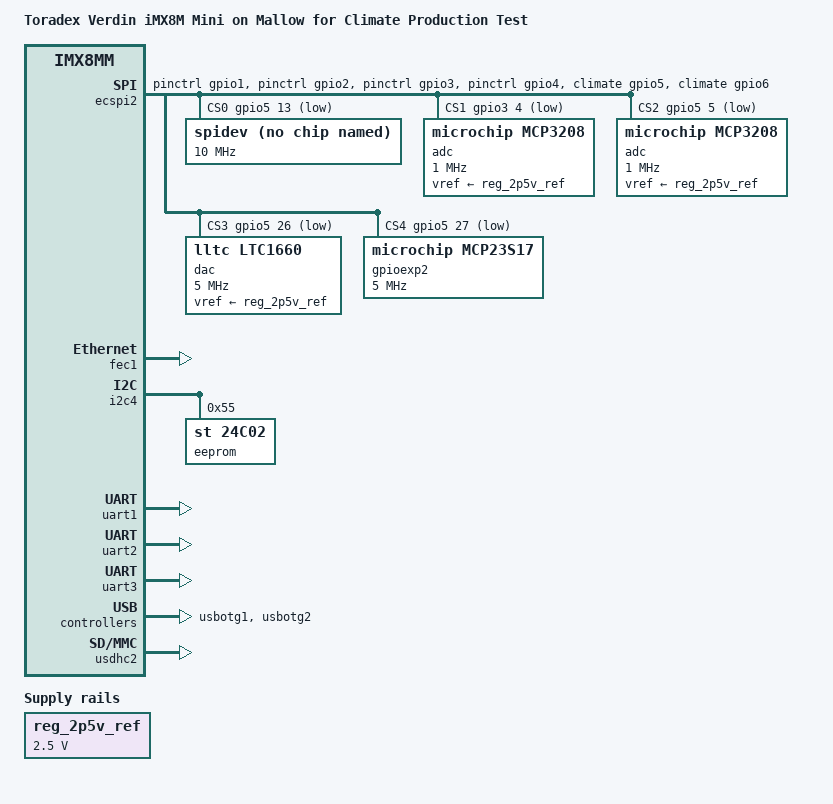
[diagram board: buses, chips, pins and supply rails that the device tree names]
// SPDX-License-Identifier: GPL-2.0-or-later OR MIT
/*
 * Copyright 2022 Toradex
 */

/dts-v1/;

#include "imx8mm-verdin.dtsi"

/ {
	model = "Toradex Verdin iMX8M Mini on Mallow for Climate Production Test";
	compatible = "toradex,verdin-imx8mm-nonwifi-dahlia",
		     "toradex,verdin-imx8mm-nonwifi",
		     "toradex,verdin-imx8mm",
		     "fsl,imx8mm";

	reg_2p5v_ref: regulator-2p5v {
		compatible = "regulator-fixed";
		regulator-max-microvolt = <2500000>;
		regulator-min-microvolt = <2500000>;
		regulator-name = "2.5V_REF";
	};
};

&ecspi2 {
	pinctrl-0 = <&pinctrl_ecspi2 &pinctrl_gpio1 &pinctrl_gpio2
		     &pinctrl_gpio3 &pinctrl_gpio4 &pinctrl_climate_gpio5
		     &pinctrl_climate_gpio6>;
	cs-gpios = <&gpio5 13 GPIO_ACTIVE_LOW>, <&gpio3 4 GPIO_ACTIVE_LOW>,
		   <&gpio5  5 GPIO_ACTIVE_LOW>, <&gpio5 26 GPIO_ACTIVE_LOW>,
		   <&gpio5 27 GPIO_ACTIVE_LOW>;
	/* DMAs prevent more than 3 CS */
	dmas = "";
	dma_names = "";

	/*
	 * This is not needed but always defined, even if left away, so define
	 * it explicitly and leave it unused.
	 */
	spidev@0 {
		compatible = "rohm,dh2228fv";
		reg = <0>;
		spi-max-frequency = <10000000>;
	};

	adc@1 {
		compatible = "microchip,mcp3208";
		reg = <1>;
		vref-supply = <&reg_2p5v_ref>;
		spi-max-frequency = <1000000>;
	};

	adc@2 {
		compatible = "microchip,mcp3208";
		reg = <2>;
		vref-supply = <&reg_2p5v_ref>;
		spi-max-frequency = <1000000>;
	};

	dac@0 {
		compatible = "lltc,ltc1660";
		reg = <3>;
		spi-max-frequency = <5000000>;
		vref-supply = <&reg_2p5v_ref>;
	};

	gpioexp2: gpio@4 {
		compatible = "microchip,mcp23s17";
		gpio-controller;
		#gpio-cells = <2>;
		/*
		 * 0x02 -> IOEXP1
		 * 0x04 -> IOEXP3
		 * 0x10 -> IOEXP2
		 */
		microchip,spi-present-mask = <0x16>;
		reg = <4>;
		spi-max-frequency = <5000000>;
		gpio-line-names = "Port_A0",
				  "Port_A1",
				  "Port_A2",
				  "Port_A3",
				  "Port_A4",
				  "Port_A5",
				  "Port_A6",
				  "Port_A7",
				  "Port_B0",
				  "Port_B1",
				  "Port_B2",
				  "Port_B3",
				  "Port_B4",
				  "Port_B5",
				  "Port_B6",
				  "Port_B7";
	};
};

&fec1 {
	status = "okay";
};

&i2c4 {
	status = "okay";

	eeprom@55 {
		compatible = "st,24c02";
		pagesize = <16>;
		reg = <0x55>;
	};
};

&iomuxc {
	pinctrl-names = "default";
	pinctrl-0 = <&pinctrl_gpio7>, <&pinctrl_gpio8>,
		    <&pinctrl_gpio_hog1>, <&pinctrl_gpio_hog2>, <&pinctrl_gpio_hog3>,
		    <&pinctrl_pmic_tpm_ena>;

	/* Climate GPIO 5 and 6 are not used at the moment */
	pinctrl_climate_gpio5: climategpio5grp {
		fsl,pins =
			<MX8MM_IOMUXC_SAI2_TXFS_GPIO4_IO24		0x106>;	/* SODIMM 32 */
	};

	pinctrl_climate_gpio6: climategpio6grp {
		fsl,pins =
			<MX8MM_IOMUXC_SAI2_TXC_GPIO4_IO25		0x106>;	/* SODIMM 30 */
	};
};

/* Verdin UART_3 */
&uart1 {
	status = "okay";
};

/* Verdin UART_1 */
&uart2 {
	status = "okay";
};

/* Verdin UART_2 */
&uart3 {
	status = "okay";
};

/* Verdin USB_1 */
&usbotg1 {
	disable-over-current;
	status = "okay";
};

/* Verdin USB_2 */
&usbotg2 {
	disable-over-current;
	status = "okay";
};

/* Verdin SD_1 */
&usdhc2 {
	status = "okay";
};
